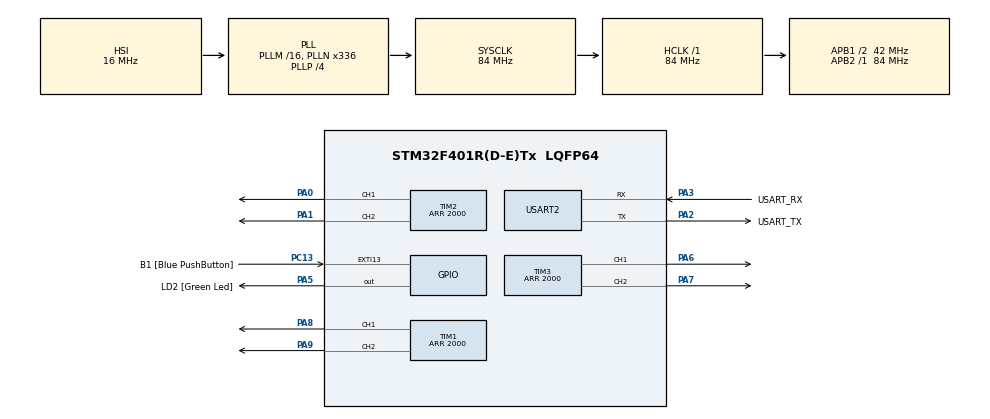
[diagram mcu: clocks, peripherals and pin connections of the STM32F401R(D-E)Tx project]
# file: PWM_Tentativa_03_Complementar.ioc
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Mcu.Family=STM32F4
Mcu.Name=STM32F401R(D-E)Tx
Mcu.Package=LQFP64
NVIC.PriorityGroup=NVIC_PRIORITYGROUP_4
PA0-WKUP.Signal=S_TIM2_CH1_ETR
PA1.Signal=S_TIM2_CH2
PA13.GPIO_Label=TMS
PA13.Mode=Trace_Asynchronous_SW
PA13.Signal=SYS_JTMS-SWDIO
PA14.GPIO_Label=TCK
PA14.Mode=Trace_Asynchronous_SW
PA14.Signal=SYS_JTCK-SWCLK
PA2.GPIO_Label=USART_TX
PA2.GPIO_Mode=GPIO_MODE_AF_PP
PA2.GPIO_PuPd=GPIO_NOPULL
PA2.GPIO_Speed=GPIO_SPEED_FREQ_LOW
PA2.Mode=Asynchronous
PA2.Signal=USART2_TX
PA3.GPIO_Label=USART_RX
PA3.GPIO_Mode=GPIO_MODE_AF_PP
PA3.GPIO_PuPd=GPIO_NOPULL
PA3.GPIO_Speed=GPIO_SPEED_FREQ_LOW
PA3.Mode=Asynchronous
PA3.Signal=USART2_RX
PA5.GPIO_Label=LD2 [Green Led]
PA5.GPIO_Mode=GPIO_MODE_OUTPUT_PP
PA5.GPIO_PuPd=GPIO_NOPULL
PA5.GPIO_Speed=GPIO_SPEED_FREQ_LOW
PA5.Signal=GPIO_Output
PA6.Signal=S_TIM3_CH1
PA7.Signal=S_TIM3_CH2
PA8.Signal=S_TIM1_CH1
PA9.Signal=S_TIM1_CH2
PB3.GPIO_Label=SWO
PB3.Mode=Trace_Asynchronous_SW
PB3.Signal=SYS_JTDO-SWO
PC13-ANTI_TAMP.GPIO_Label=B1 [Blue PushButton]
PC13-ANTI_TAMP.GPIO_ModeDefaultEXTI=GPIO_MODE_IT_FALLING
PC13-ANTI_TAMP.GPIO_PuPd=GPIO_NOPULL
PC13-ANTI_TAMP.Signal=GPXTI13
PC14-OSC32_IN.Mode=LSE-External-Oscillator
PC14-OSC32_IN.Signal=RCC_OSC32_IN
PC15-OSC32_OUT.Mode=LSE-External-Oscillator
PC15-OSC32_OUT.Signal=RCC_OSC32_OUT
PH0\ -\ OSC_IN.Mode=HSE-External-Clock-Source
PH0\ -\ OSC_IN.Signal=RCC_OSC_IN
PH1\ -\ OSC_OUT.Mode=HSE-External-Clock-Source
PH1\ -\ OSC_OUT.Signal=RCC_OSC_OUT
ProjectManager.HeapSize=0x200
ProjectManager.StackSize=0x400
ProjectManager.TargetToolchain=STM32CubeIDE
RCC.48MHZClocksFreq_Value=48000000
RCC.AHBFreq_Value=84000000
RCC.APB1CLKDivider=RCC_HCLK_DIV2
RCC.APB1Freq_Value=42000000
RCC.APB1TimFreq_Value=84000000
RCC.APB2Freq_Value=84000000
RCC.APB2TimFreq_Value=84000000
RCC.CortexFreq_Value=84000000
RCC.HCLKFreq_Value=84000000
RCC.HSE_VALUE=8000000
RCC.HSI_VALUE=16000000
RCC.PLLN=336
RCC.PLLP=RCC_PLLP_DIV4
RCC.PLLQ=7
RCC.SYSCLKFreq_VALUE=84000000
RCC.SYSCLKSource=RCC_SYSCLKSOURCE_PLLCLK
RCC.VCOOutputFreq_Value=336000000
SH.S_TIM1_CH1.0=TIM1_CH1,PWM Generation1 CH1
SH.S_TIM1_CH2.0=TIM1_CH2,PWM Generation2 CH2
SH.S_TIM2_CH1_ETR.0=TIM2_CH1,PWM Generation1 CH1
SH.S_TIM2_CH2.0=TIM2_CH2,PWM Generation2 CH2
SH.S_TIM3_CH1.0=TIM3_CH1,PWM Generation1 CH1
SH.S_TIM3_CH2.0=TIM3_CH2,PWM Generation2 CH2
TIM1.AutoReloadPreload=TIM_AUTORELOAD_PRELOAD_ENABLE
TIM1.Channel-PWM\ Generation1\ CH1=TIM_CHANNEL_1
TIM1.Channel-PWM\ Generation2\ CH2=TIM_CHANNEL_2
TIM1.CounterMode=TIM_COUNTERMODE_CENTERALIGNED3
TIM1.OCMode_PWM-PWM\ Generation2\ CH2=TIM_OCMODE_PWM2
TIM1.Period=2000
TIM1.Pulse-PWM\ Generation1\ CH1=100
TIM1.Pulse-PWM\ Generation2\ CH2=1900
TIM2.AutoReloadPreload=TIM_AUTORELOAD_PRELOAD_ENABLE
TIM2.Channel-PWM\ Generation1\ CH1=TIM_CHANNEL_1
TIM2.Channel-PWM\ Generation2\ CH2=TIM_CHANNEL_2
TIM2.CounterMode=TIM_COUNTERMODE_CENTERALIGNED3
TIM2.OCMode_PWM-PWM\ Generation2\ CH2=TIM_OCMODE_PWM2
TIM2.Period=2000
TIM2.Pulse-PWM\ Generation1\ CH1=100
TIM2.Pulse-PWM\ Generation2\ CH2=1900
TIM3.AutoReloadPreload=TIM_AUTORELOAD_PRELOAD_ENABLE
TIM3.Channel-PWM\ Generation1\ CH1=TIM_CHANNEL_1
TIM3.Channel-PWM\ Generation2\ CH2=TIM_CHANNEL_2
TIM3.CounterMode=TIM_COUNTERMODE_CENTERALIGNED3
TIM3.OCMode_PWM-PWM\ Generation2\ CH2=TIM_OCMODE_PWM2
TIM3.Period=2000
TIM3.Pulse-PWM\ Generation1\ CH1=100
TIM3.Pulse-PWM\ Generation2\ CH2=1900
USART2.VirtualMode=VM_ASYNC
VP_TIM1_VS_ClockSourceINT.Mode=Internal
VP_TIM2_VS_ClockSourceINT.Mode=Internal
VP_TIM3_VS_ClockSourceINT.Mode=Internal
board=NUCLEO-F401RE

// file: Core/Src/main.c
/* USER CODE BEGIN Header */
/**
  ******************************************************************************
  * @file           : main.c
  * @brief          : Main program body
  ******************************************************************************
  * @attention
  *
  * Copyright (c) 2026 STMicroelectronics.
  * All rights reserved.
  *
  * This software is licensed under terms that can be found in the LICENSE file
  * in the root directory of this software component.
  * If no LICENSE file comes with this software, it is provided AS-IS.
  *
  ******************************************************************************
  */
/* USER CODE END Header */
#include "main.h"

TIM_HandleTypeDef htim1;
TIM_HandleTypeDef htim2;
TIM_HandleTypeDef htim3;

UART_HandleTypeDef huart2;

void SystemClock_Config(void);
static void MX_GPIO_Init(void);
static void MX_TIM1_Init(void);
static void MX_USART2_UART_Init(void);
static void MX_TIM2_Init(void);
static void MX_TIM3_Init(void);

int main(void)
{

  /* MCU Configuration--------------------------------------------------------*/

  /* Reset of all peripherals, Initializes the Flash interface and the Systick. */
  HAL_Init();

  /* Configure the system clock */
  SystemClock_Config();

  /* Initialize all configured peripherals */
  MX_GPIO_Init();
  MX_TIM1_Init();
  MX_USART2_UART_Init();
  MX_TIM2_Init();
  MX_TIM3_Init();
  /* USER CODE BEGIN 2 */

  //inicializar os timer 01 e os canais 1 e 2
  // Pinos de saida Chanel 1 = PA8
  // Pinos de saida Chanel 2 = PA9
  HAL_TIM_PWM_Start(&htim1, TIM_CHANNEL_1);
  HAL_TIM_PWM_Start(&htim1, TIM_CHANNEL_2);

  //inicializar os timer 02 e os canais 1 e 2
  // Pinos de saida Chanel 1 = PA0   ->Led Azul
  // Pinos de saida Chanel 2 = PA1   ->Led Amarelo
  HAL_TIM_PWM_Start(&htim2, TIM_CHANNEL_1);
  HAL_TIM_PWM_Start(&htim2, TIM_CHANNEL_2);

  //inicializar os timer 03 e os canais 1 e 2
  // Pinos de saida Chanel 1 = PA6
  // Pinos de saida Chanel 2 = PA7
  HAL_TIM_PWM_Start(&htim3, TIM_CHANNEL_1);
  HAL_TIM_PWM_Start(&htim3, TIM_CHANNEL_2);

  /* Certifique-se de que a instância do timer está declarada (geralmente htim1 ou htim8) */
  extern TIM_HandleTypeDef htim1;

  extern TIM_HandleTypeDef htim2;

  extern TIM_HandleTypeDef htim3;
  /**
    * @brief  Executa a partida suave (Soft-Start) para a topologia Push-Pull.
    * @note   ARR = 2000. Alvo final de 50% de Duty Cycle.
    * @param  passos: Quantos incrementos a rampa terá até atingir o valor final.
    * @param  atraso_ms: Tempo de espera em milissegundos entre cada passo da rampa.
    */

  //Executa o PushPull di TIM1
  void Executar_SoftStart_PushPull_50PercentTIM1(uint16_t passos, uint32_t atraso_ms)
  {
      // Valores Iniciais solicitados
      uint16_t pulse_A = 100;
      uint16_t pulse_B = 1900;

      // Valores Finais calculados para 50% de Duty Cycle máximo (ARR = 2000)
      uint16_t alvo_A = 999;
      uint16_t alvo_B = 1001;

      // Calcula o tamanho do degrau de incremento/decremento para cada passo da rampa
      float incremento_A = (float)(alvo_A - pulse_A) / passos;
      float decremento_B = (float)(pulse_B - alvo_B) / passos;

      // 1. Define os valores iniciais nos registradores antes de ligar as saídas
      __HAL_TIM_SET_COMPARE(&htim1, TIM_CHANNEL_1, pulse_A);
      __HAL_TIM_SET_COMPARE(&htim1, TIM_CHANNEL_2, pulse_B);

      // 2. Inicializa os canais PWM (Principal e Complementar se houver)
      HAL_TIM_PWM_Start(&htim1, TIM_CHANNEL_1);
      //HAL_TIMEx_PWMN_Start(&htim1, TIM_CHANNEL_1); // Se usar CH1N

      HAL_TIM_PWM_Start(&htim1, TIM_CHANNEL_2);
      //HAL_TIMEx_PWMN_Start(&htim1, TIM_CHANNEL_2); // Se usar CH2N

      // 3. Executa a rampa de subida suave
      for (uint16_t i = 0; i < passos; i++)
      {
          pulse_A += (uint16_t)incremento_A;
          pulse_B -= (uint16_t)decremento_B;

          // Atualiza os registradores de variação em tempo de execução
          __HAL_TIM_SET_COMPARE(&htim1, TIM_CHANNEL_1, pulse_A);
          __HAL_TIM_SET_COMPARE(&htim1, TIM_CHANNEL_2, pulse_B);

          // Atraso para controlar a velocidade do Soft-Start
          HAL_Delay(atraso_ms);
      }

      // 4. Garante que os valores finais fiquem cravados exatamente no alvo de 50%
      __HAL_TIM_SET_COMPARE(&htim1, TIM_CHANNEL_1, alvo_A);
      __HAL_TIM_SET_COMPARE(&htim1, TIM_CHANNEL_2, alvo_B);
  }

  //Executa o PushPull di TIM2
  void Executar_SoftStart_PushPull_50PercentTIM2(uint16_t passos, uint32_t atraso_ms)
    {
        // Valores Iniciais solicitados
        uint16_t pulse_A = 100;
        uint16_t pulse_B = 1900;

        // Valores Finais calculados para 50% de Duty Cycle máximo (ARR = 2000)
        uint16_t alvo_A = 999;
        uint16_t alvo_B = 1001;

        // Calcula o tamanho do degrau de incremento/decremento para cada passo da rampa
        float incremento_A = (float)(alvo_A - pulse_A) / passos;
        float decremento_B = (float)(pulse_B - alvo_B) / passos;

        // 1. Define os valores iniciais nos registradores antes de ligar as saídas
        __HAL_TIM_SET_COMPARE(&htim2, TIM_CHANNEL_1, pulse_A);
        __HAL_TIM_SET_COMPARE(&htim2, TIM_CHANNEL_2, pulse_B);

        // 2. Inicializa os canais PWM (Principal e Complementar se houver)
        HAL_TIM_PWM_Start(&htim2, TIM_CHANNEL_1);
        //HAL_TIMEx_PWMN_Start(&htim1, TIM_CHANNEL_1); // Se usar CH1N

        HAL_TIM_PWM_Start(&htim2, TIM_CHANNEL_2);
        //HAL_TIMEx_PWMN_Start(&htim1, TIM_CHANNEL_2); // Se usar CH2N

        // 3. Executa a rampa de subida suave
        for (uint16_t i = 0; i < passos; i++)
        {
            pulse_A += (uint16_t)incremento_A;
            pulse_B -= (uint16_t)decremento_B;

            // Atualiza os registradores de variação em tempo de execução
            __HAL_TIM_SET_COMPARE(&htim2, TIM_CHANNEL_1, pulse_A);
            __HAL_TIM_SET_COMPARE(&htim2, TIM_CHANNEL_2, pulse_B);

            // Atraso para controlar a velocidade do Soft-Start
            HAL_Delay(atraso_ms);
        }

        // 4. Garante que os valores finais fiquem cravados exatamente no alvo de 50%
        __HAL_TIM_SET_COMPARE(&htim2, TIM_CHANNEL_1, alvo_A);
        __HAL_TIM_SET_COMPARE(&htim2, TIM_CHANNEL_2, alvo_B);
    }

    //Executa o PushPull di TIM1
    void Executar_SoftStart_PushPull_50PercentTIM3(uint16_t passos, uint32_t atraso_ms)
    {
        // Valores Iniciais solicitados
        uint16_t pulse_A = 100;
        uint16_t pulse_B = 1900;

        // Valores Finais calculados para 50% de Duty Cycle máximo (ARR = 2000)
        uint16_t alvo_A = 995;
        uint16_t alvo_B = 1005;

        // Calcula o tamanho do degrau de incremento/decremento para cada passo da rampa
        float incremento_A = (float)(alvo_A - pulse_A) / passos;
        float decremento_B = (float)(pulse_B - alvo_B) / passos;

        // 1. Define os valores iniciais nos registradores antes de ligar as saídas
        __HAL_TIM_SET_COMPARE(&htim3, TIM_CHANNEL_1, pulse_A);
        __HAL_TIM_SET_COMPARE(&htim3, TIM_CHANNEL_2, pulse_B);

        // 2. Inicializa os canais PWM (Principal e Complementar se houver)
        HAL_TIM_PWM_Start(&htim3, TIM_CHANNEL_1);
        //HAL_TIMEx_PWMN_Start(&htim1, TIM_CHANNEL_1); // Se usar CH1N

        HAL_TIM_PWM_Start(&htim3, TIM_CHANNEL_2);
        //HAL_TIMEx_PWMN_Start(&htim1, TIM_CHANNEL_2); // Se usar CH2N

        // 3. Executa a rampa de subida suave
        for (uint16_t i = 0; i < passos; i++)
        {
            pulse_A += (uint16_t)incremento_A;
            pulse_B -= (uint16_t)decremento_B;

            // Atualiza os registradores de variação em tempo de execução
            __HAL_TIM_SET_COMPARE(&htim3, TIM_CHANNEL_1, pulse_A);
            __HAL_TIM_SET_COMPARE(&htim3, TIM_CHANNEL_2, pulse_B);

            // Atraso para controlar a velocidade do Soft-Start
            HAL_Delay(atraso_ms);
        }

        // 4. Garante que os valores finais fiquem cravados exatamente no alvo de 50%
        __HAL_TIM_SET_COMPARE(&htim3, TIM_CHANNEL_1, alvo_A);
        __HAL_TIM_SET_COMPARE(&htim3, TIM_CHANNEL_2, alvo_B);
    }                              //primeiro paramento é a divissão do passo por 400 exempo
                                   //segundo paramentro é daley igual al Hal_Delay 50

    //Executar_SoftStart_PushPull_50PercentTIM1(400, 10);

  Executar_SoftStart_PushPull_50PercentTIM2(400, 50);

  //Executar_SoftStart_PushPull_50PercentTIM3(400, 10);
  /* USER CODE END 2 */

  /* Infinite loop */
  while (1)
  {

    /* USER CODE BEGIN 3 */
	  //uma forma de alterar estado do pinoi do led
	 	  HAL_GPIO_TogglePin(GPIOA, LD2_Pin);
	 	  HAL_Delay(1000);

  }
  /* USER CODE END 3 */
}

void SystemClock_Config(void)
{
  RCC_OscInitTypeDef RCC_OscInitStruct = {0};
  RCC_ClkInitTypeDef RCC_ClkInitStruct = {0};

  /** Configure the main internal regulator output voltage
  */
  __HAL_RCC_PWR_CLK_ENABLE();
  __HAL_PWR_VOLTAGESCALING_CONFIG(PWR_REGULATOR_VOLTAGE_SCALE2);

  /** Initializes the RCC Oscillators according to the specified parameters
  * in the RCC_OscInitTypeDef structure.
  */
  RCC_OscInitStruct.OscillatorType = RCC_OSCILLATORTYPE_HSI;
  RCC_OscInitStruct.HSIState = RCC_HSI_ON;
  RCC_OscInitStruct.HSICalibrationValue = RCC_HSICALIBRATION_DEFAULT;
  RCC_OscInitStruct.PLL.PLLState = RCC_PLL_ON;
  RCC_OscInitStruct.PLL.PLLSource = RCC_PLLSOURCE_HSI;
  RCC_OscInitStruct.PLL.PLLM = 16;
  RCC_OscInitStruct.PLL.PLLN = 336;
  RCC_OscInitStruct.PLL.PLLP = RCC_PLLP_DIV4;
  RCC_OscInitStruct.PLL.PLLQ = 7;
  if (HAL_RCC_OscConfig(&RCC_OscInitStruct) != HAL_OK)
  {
    Error_Handler();
  }

  /** Initializes the CPU, AHB and APB buses clocks
  */
  RCC_ClkInitStruct.ClockType = RCC_CLOCKTYPE_HCLK|RCC_CLOCKTYPE_SYSCLK
                              |RCC_CLOCKTYPE_PCLK1|RCC_CLOCKTYPE_PCLK2;
  RCC_ClkInitStruct.SYSCLKSource = RCC_SYSCLKSOURCE_PLLCLK;
  RCC_ClkInitStruct.AHBCLKDivider = RCC_SYSCLK_DIV1;
  RCC_ClkInitStruct.APB1CLKDivider = RCC_HCLK_DIV2;
  RCC_ClkInitStruct.APB2CLKDivider = RCC_HCLK_DIV1;

  if (HAL_RCC_ClockConfig(&RCC_ClkInitStruct, FLASH_LATENCY_2) != HAL_OK)
  {
    Error_Handler();
  }
}

static void MX_TIM1_Init(void)
{

  TIM_ClockConfigTypeDef sClockSourceConfig = {0};
  TIM_MasterConfigTypeDef sMasterConfig = {0};
  TIM_OC_InitTypeDef sConfigOC = {0};
  TIM_BreakDeadTimeConfigTypeDef sBreakDeadTimeConfig = {0};

  htim1.Instance = TIM1;
  htim1.Init.Prescaler = 0;
  htim1.Init.CounterMode = TIM_COUNTERMODE_CENTERALIGNED3;
  htim1.Init.Period = 2000;
  htim1.Init.ClockDivision = TIM_CLOCKDIVISION_DIV1;
  htim1.Init.RepetitionCounter = 0;
  htim1.Init.AutoReloadPreload = TIM_AUTORELOAD_PRELOAD_ENABLE;
  if (HAL_TIM_Base_Init(&htim1) != HAL_OK)
  {
    Error_Handler();
  }
  sClockSourceConfig.ClockSource = TIM_CLOCKSOURCE_INTERNAL;
  if (HAL_TIM_ConfigClockSource(&htim1, &sClockSourceConfig) != HAL_OK)
  {
    Error_Handler();
  }
  if (HAL_TIM_PWM_Init(&htim1) != HAL_OK)
  {
    Error_Handler();
  }
  sMasterConfig.MasterOutputTrigger = TIM_TRGO_RESET;
  sMasterConfig.MasterSlaveMode = TIM_MASTERSLAVEMODE_DISABLE;
  if (HAL_TIMEx_MasterConfigSynchronization(&htim1, &sMasterConfig) != HAL_OK)
  {
    Error_Handler();
  }
  sConfigOC.OCMode = TIM_OCMODE_PWM1;
  sConfigOC.Pulse = 100;
  sConfigOC.OCPolarity = TIM_OCPOLARITY_HIGH;
  sConfigOC.OCNPolarity = TIM_OCNPOLARITY_HIGH;
  sConfigOC.OCFastMode = TIM_OCFAST_DISABLE;
  sConfigOC.OCIdleState = TIM_OCIDLESTATE_RESET;
  sConfigOC.OCNIdleState = TIM_OCNIDLESTATE_RESET;
  if (HAL_TIM_PWM_ConfigChannel(&htim1, &sConfigOC, TIM_CHANNEL_1) != HAL_OK)
  {
    Error_Handler();
  }
  sConfigOC.OCMode = TIM_OCMODE_PWM2;
  sConfigOC.Pulse = 1900;
  if (HAL_TIM_PWM_ConfigChannel(&htim1, &sConfigOC, TIM_CHANNEL_2) != HAL_OK)
  {
    Error_Handler();
  }
  sBreakDeadTimeConfig.OffStateRunMode = TIM_OSSR_DISABLE;
  sBreakDeadTimeConfig.OffStateIDLEMode = TIM_OSSI_DISABLE;
  sBreakDeadTimeConfig.LockLevel = TIM_LOCKLEVEL_OFF;
  sBreakDeadTimeConfig.DeadTime = 0;
  sBreakDeadTimeConfig.BreakState = TIM_BREAK_DISABLE;
  sBreakDeadTimeConfig.BreakPolarity = TIM_BREAKPOLARITY_HIGH;
  sBreakDeadTimeConfig.AutomaticOutput = TIM_AUTOMATICOUTPUT_DISABLE;
  if (HAL_TIMEx_ConfigBreakDeadTime(&htim1, &sBreakDeadTimeConfig) != HAL_OK)
  {
    Error_Handler();
  }
  HAL_TIM_MspPostInit(&htim1);

}

static void MX_TIM2_Init(void)
{

  TIM_ClockConfigTypeDef sClockSourceConfig = {0};
  TIM_MasterConfigTypeDef sMasterConfig = {0};
  TIM_OC_InitTypeDef sConfigOC = {0};

  htim2.Instance = TIM2;
  htim2.Init.Prescaler = 0;
  htim2.Init.CounterMode = TIM_COUNTERMODE_CENTERALIGNED3;
  htim2.Init.Period = 2000;
  htim2.Init.ClockDivision = TIM_CLOCKDIVISION_DIV1;
  htim2.Init.AutoReloadPreload = TIM_AUTORELOAD_PRELOAD_ENABLE;
  if (HAL_TIM_Base_Init(&htim2) != HAL_OK)
  {
    Error_Handler();
  }
  sClockSourceConfig.ClockSource = TIM_CLOCKSOURCE_INTERNAL;
  if (HAL_TIM_ConfigClockSource(&htim2, &sClockSourceConfig) != HAL_OK)
  {
    Error_Handler();
  }
  if (HAL_TIM_PWM_Init(&htim2) != HAL_OK)
  {
    Error_Handler();
  }
  sMasterConfig.MasterOutputTrigger = TIM_TRGO_RESET;
  sMasterConfig.MasterSlaveMode = TIM_MASTERSLAVEMODE_DISABLE;
  if (HAL_TIMEx_MasterConfigSynchronization(&htim2, &sMasterConfig) != HAL_OK)
  {
    Error_Handler();
  }
  sConfigOC.OCMode = TIM_OCMODE_PWM1;
  sConfigOC.Pulse = 100;
  sConfigOC.OCPolarity = TIM_OCPOLARITY_HIGH;
  sConfigOC.OCFastMode = TIM_OCFAST_DISABLE;
  if (HAL_TIM_PWM_ConfigChannel(&htim2, &sConfigOC, TIM_CHANNEL_1) != HAL_OK)
  {
    Error_Handler();
  }
  sConfigOC.OCMode = TIM_OCMODE_PWM2;
  sConfigOC.Pulse = 1900;
  if (HAL_TIM_PWM_ConfigChannel(&htim2, &sConfigOC, TIM_CHANNEL_2) != HAL_OK)
  {
    Error_Handler();
  }
  HAL_TIM_MspPostInit(&htim2);

}

static void MX_TIM3_Init(void)
{

  TIM_ClockConfigTypeDef sClockSourceConfig = {0};
  TIM_MasterConfigTypeDef sMasterConfig = {0};
  TIM_OC_InitTypeDef sConfigOC = {0};

  htim3.Instance = TIM3;
  htim3.Init.Prescaler = 0;
  htim3.Init.CounterMode = TIM_COUNTERMODE_CENTERALIGNED3;
  htim3.Init.Period = 2000;
  htim3.Init.ClockDivision = TIM_CLOCKDIVISION_DIV1;
  htim3.Init.AutoReloadPreload = TIM_AUTORELOAD_PRELOAD_ENABLE;
  if (HAL_TIM_Base_Init(&htim3) != HAL_OK)
  {
    Error_Handler();
  }
  sClockSourceConfig.ClockSource = TIM_CLOCKSOURCE_INTERNAL;
  if (HAL_TIM_ConfigClockSource(&htim3, &sClockSourceConfig) != HAL_OK)
  {
    Error_Handler();
  }
  if (HAL_TIM_PWM_Init(&htim3) != HAL_OK)
  {
    Error_Handler();
  }
  sMasterConfig.MasterOutputTrigger = TIM_TRGO_RESET;
  sMasterConfig.MasterSlaveMode = TIM_MASTERSLAVEMODE_DISABLE;
  if (HAL_TIMEx_MasterConfigSynchronization(&htim3, &sMasterConfig) != HAL_OK)
  {
    Error_Handler();
  }
  sConfigOC.OCMode = TIM_OCMODE_PWM1;
  sConfigOC.Pulse = 100;
  sConfigOC.OCPolarity = TIM_OCPOLARITY_HIGH;
  sConfigOC.OCFastMode = TIM_OCFAST_DISABLE;
  if (HAL_TIM_PWM_ConfigChannel(&htim3, &sConfigOC, TIM_CHANNEL_1) != HAL_OK)
  {
    Error_Handler();
  }
  sConfigOC.OCMode = TIM_OCMODE_PWM2;
  sConfigOC.Pulse = 1900;
  if (HAL_TIM_PWM_ConfigChannel(&htim3, &sConfigOC, TIM_CHANNEL_2) != HAL_OK)
  {
    Error_Handler();
  }
  HAL_TIM_MspPostInit(&htim3);

}

static void MX_USART2_UART_Init(void)
{

  huart2.Instance = USART2;
  huart2.Init.BaudRate = 115200;
  huart2.Init.WordLength = UART_WORDLENGTH_8B;
  huart2.Init.StopBits = UART_STOPBITS_1;
  huart2.Init.Parity = UART_PARITY_NONE;
  huart2.Init.Mode = UART_MODE_TX_RX;
  huart2.Init.HwFlowCtl = UART_HWCONTROL_NONE;
  huart2.Init.OverSampling = UART_OVERSAMPLING_16;
  if (HAL_UART_Init(&huart2) != HAL_OK)
  {
    Error_Handler();
  }

}

static void MX_GPIO_Init(void)
{
  GPIO_InitTypeDef GPIO_InitStruct = {0};

  /* GPIO Ports Clock Enable */
  __HAL_RCC_GPIOC_CLK_ENABLE();
  __HAL_RCC_GPIOH_CLK_ENABLE();
  __HAL_RCC_GPIOA_CLK_ENABLE();
  __HAL_RCC_GPIOB_CLK_ENABLE();

  /*Configure GPIO pin Output Level */
  HAL_GPIO_WritePin(LD2_GPIO_Port, LD2_Pin, GPIO_PIN_RESET);

  /*Configure GPIO pin : B1_Pin */
  GPIO_InitStruct.Pin = B1_Pin;
  GPIO_InitStruct.Mode = GPIO_MODE_IT_FALLING;
  GPIO_InitStruct.Pull = GPIO_NOPULL;
  HAL_GPIO_Init(B1_GPIO_Port, &GPIO_InitStruct);

  /*Configure GPIO pin : LD2_Pin */
  GPIO_InitStruct.Pin = LD2_Pin;
  GPIO_InitStruct.Mode = GPIO_MODE_OUTPUT_PP;
  GPIO_InitStruct.Pull = GPIO_NOPULL;
  GPIO_InitStruct.Speed = GPIO_SPEED_FREQ_LOW;
  HAL_GPIO_Init(LD2_GPIO_Port, &GPIO_InitStruct);

}

void Error_Handler(void)
{
  __disable_irq();
  while (1)
  {
  }
}
